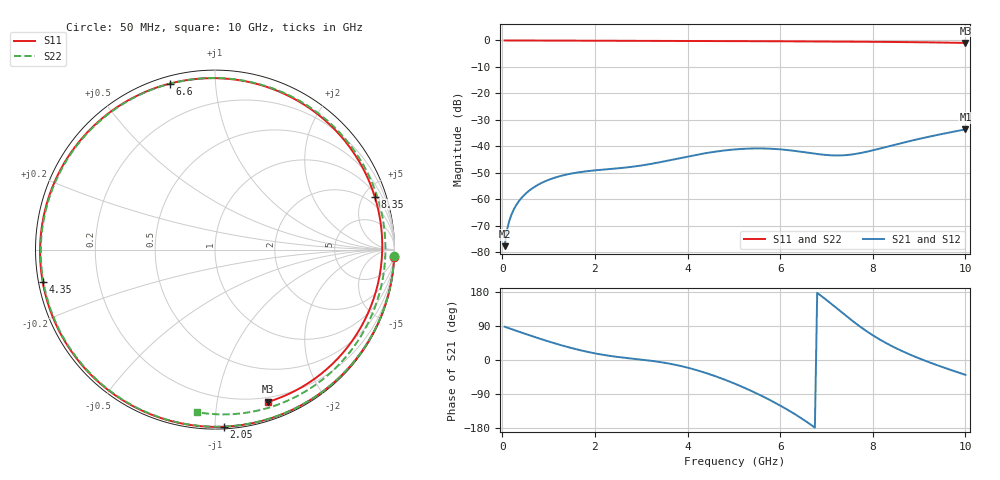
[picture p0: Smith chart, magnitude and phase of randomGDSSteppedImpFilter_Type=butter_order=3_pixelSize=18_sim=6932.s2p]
! freq	dB(S11)	phase(S11)	dB(S12)	phase(S12)
!  dB(S21)	phase(S21)	dB(S22)	phase(S22)
!S-par simulation data
#  GHz  S  DB  R 50
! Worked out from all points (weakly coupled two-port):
!   200 points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, 50 MHz to 10 GHz, reference 50 ohm
!   highest |S21| = -33.57 dB at 10 GHz (marker M1); lowest = -77.6 dB at 50 MHz (marker M2)
!   lowest |S11| = -0.9 dB at 10 GHz (marker M3), VSWR 18.73, Z = 7.93 - j69.9 ohm
!   |S11| at or under -10 dB: nowhere
!   |S22| runs from -0.8 to 0.0 dB; largest |S21 - S12| = 0
!   S11 on the Smith chart (normalised r, x): 50 MHz: 1, -50; 2.05 GHz: 0.01, -1.05; 4.35 GHz: 0.01, -0.09; 6.6 GHz: 0.03, +0.76; 8.35 GHz: 1.22, +5.95; 10 GHz: 0.16, -1.40
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0.05  -0.01 -2.3  -77.62 87.8  -77.62 87.8  -0.00 -2.1
0.1  -0.01 -4.5  -71.61 85.7  -71.61 85.7  -0.01 -4.1
0.2  -0.01 -9.0  -65.63 81.4  -65.63 81.4  -0.01 -8.2
0.5  -0.03 -22.4  -57.89 68.8  -57.89 68.8  -0.02 -20.4
1  -0.05 -44.2  -52.59 48.9  -52.59 48.9  -0.05 -40.6
1.75  -0.09 -75.3  -49.50 23.9  -49.50 23.9  -0.09 -71.0
2.05  -0.10 -87.1  -48.93 16.4  -48.93 16.4  -0.11 -83.3
2.7  -0.13 -111.6  -47.88 5.1  -47.88 5.1  -0.14 -110.4
3.4  -0.16 -136.5  -45.96 -5.2  -45.96 -5.2  -0.19 -141.1
3.9  -0.18 -153.9  -44.16 -17.2  -44.16 -17.2  -0.23 -164.5
4.35  -0.20 -169.4  -42.65 -32.5  -42.65 -32.5  -0.27 172.9
5.05  -0.25 166.1  -41.07 -64.0  -41.07 -64.0  -0.33 134.8
5.8  -0.30 138.1  -40.86 -107.0  -40.86 -107.0  -0.39 90.6
6.2  -0.33 122.1  -41.43 -134.2  -41.43 -134.2  -0.41 66.6
6.6  -0.37 105.2  -42.36 -165.4  -42.36 -165.4  -0.42 43.4
6.7  -0.38 100.8  -42.60 -174.0  -42.60 -174.0  -0.43 37.7
7.1  -0.41 82.4  -43.34 148.7  -43.34 148.7  -0.44 16.1
7.5  -0.45 62.9  -43.13 109.1  -43.13 109.1  -0.45 -3.9
8.35  -0.56 18.3  -39.91 40.6  -39.91 40.6  -0.51 -40.7
9.1  -0.70 -22.7  -36.76 -0.5  -36.76 -0.5  -0.61 -67.9
9.55  -0.80 -47.0  -35.09 -20.6  -35.09 -20.6  -0.70 -82.5
10  -0.93 -70.7  -33.57 -39.2  -33.57 -39.2  -0.81 -96.3
